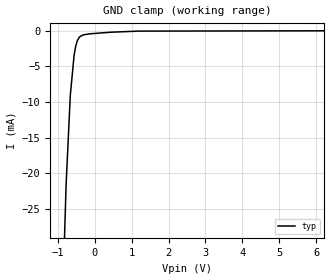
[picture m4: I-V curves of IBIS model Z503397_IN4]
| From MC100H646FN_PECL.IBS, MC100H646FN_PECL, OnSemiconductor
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| (C) COPYRIGHT 1993-2000
| MENTOR GRAPHICS CORPORATION
| ICX STANDARD LIBRARY, ICX PROJECT MODELING,
| ICX CUSTOM MODELING, ICX VENDOR MODEL
| ALL RIGHTS RESERVED.
| THE FOLLOWING ARE TRADEMARKS OR SERVICE MARKS OF
| MENTOR GRAPHICS CORPORATION:ICX (R), ICX STANDARD
| LIBRARY(R), ICX PROJECT MODELING(R), ICX CUSTOM
| MODELING(R), qualityIBIS(TM), MODELVIEWER(TM),
| AND MODELEDITOR(TM)
| ALL COPIES OF SOFTWARE, INCLUDING BUT NOT LIMITED TO
| ANY MODIFICATIONS, ENHANCEMENTS OR DERIVATIVE WORKS,
| MUST CONTAIN ALL MENTOR GRAPHICS CORPORATION'S
| NOTICES AND LEGENDS, INCLUDING THOSE EMBEDDED IN
| SOFTWARE AND THOSE AFFIXED TO SOFTWARE MEDIUM
| AND CONTAINER, AS RECEIVED FROM MENTOR GRAPHICS
| CORPORATION.
| Model Application Version 1.89 2/18/99.
[Model] Z503397_IN4
Model_type Input
Vinl = 3.525V
Vinh = 3.835V
C_comp 4.000pF NA NA
| variable typ   min   max
[Voltage Range] 5.000V NA NA
[GND Clamp Reference] 0.000V NA NA
[POWER Clamp Reference] 5.000V NA NA
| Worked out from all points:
|   GND clamp passes 1 mA (typ) near -0.43 V on its own axis
[GND Clamp]
-5V       -739.7mA   NA         NA
-771.2mV  -21.55mA   NA         NA
-658.6mV  -9.079mA   NA         NA
-555.4mV  -3.426mA   NA         NA
-508.8mV  -2.088mA   NA         NA
-472.4mV  -1.447mA   NA         NA
-419.9mV  -927.2uA   NA         NA
-305.7mV  -565.8uA   NA         NA
410.2mV   -198.5uA   NA         NA
1.187V    -35.91uA   NA         NA
10V       39.84uA    NA         NA
[POWER Clamp]
-5V       0A         NA         NA
10V       0A         NA         NA
